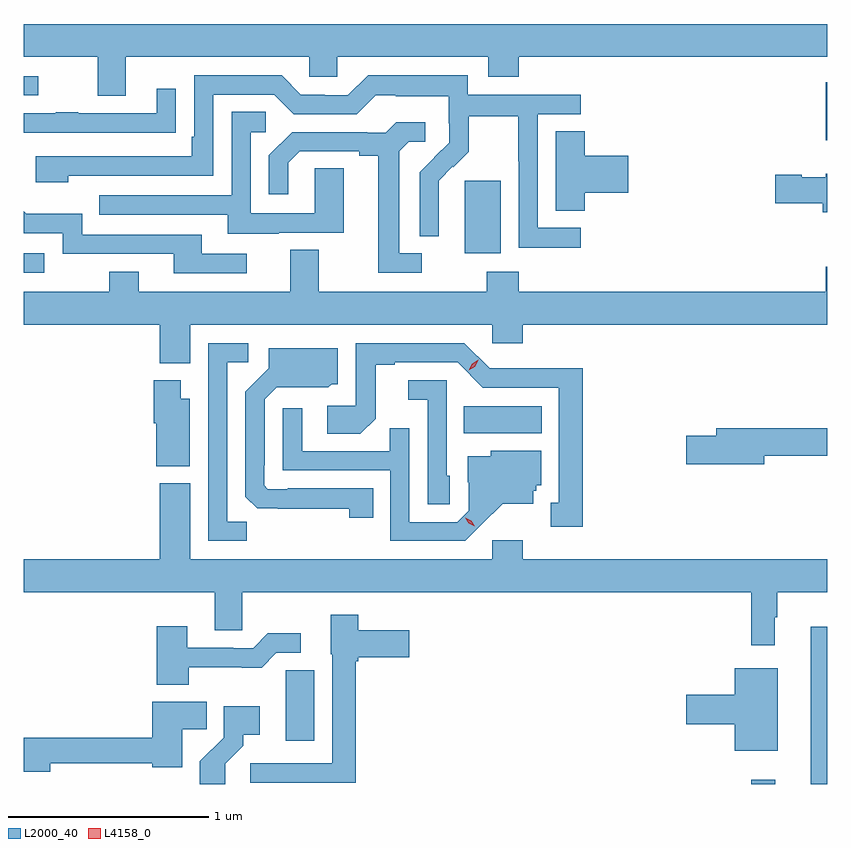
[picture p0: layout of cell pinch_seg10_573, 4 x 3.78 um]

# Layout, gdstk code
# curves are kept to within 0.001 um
import gdstk
lib = gdstk.Library(unit=1e-6, precision=1e-09)
def R(c, l, rs):  # rectangles x0, y0, x1, y1
    for r in rs: c.add(gdstk.rectangle(r[:2], r[2:], *l))
def P(c, l, *ps):  # polygons
    for p in ps: c.add(gdstk.Polygon(p, *l))
L2000_40 = (2000, 40)
L4158_0 = (4158, 0)

pinch_seg10_573 = lib.new_cell('pinch_seg10_573')
R(pinch_seg10_573, L2000_40, [(291.979,1283.378,292.097,1283.398), (292.274,1283.378,292.357,1284.16), (290.548,1285.124,290.935,1285.258), (288.357,1285.923,288.46,1286.019), (290.552,1286.018,290.731,1286.379), (292.349,1286.582,292.357,1286.869), (288.357,1286.805,288.43,1286.901)])
P(pinch_seg10_573, L2000_40, [(288.865,1286.996),(289.779,1286.996),(289.779,1286.898),(289.917,1286.898),(289.917,1286.996),(290.669,1286.996),(290.669,1286.897),(290.822,1286.897),(290.822,1286.996),(292.357,1286.996),(292.357,1287.16),(288.357,1287.16),(288.357,1286.996),(288.725,1286.996),(288.725,1286.802),(288.865,1286.802)],
  [(291.13,1286.145),(290.916,1286.145),(290.916,1286.712),(291.13,1286.712),(291.13,1286.808),(290.568,1286.808),(290.568,1286.905),(290.071,1286.905),(289.971,1286.805),(289.856,1286.805),(289.856,1286.808),(289.737,1286.808),(289.641,1286.904),(289.206,1286.904),(289.206,1286.599),(289.193,1286.599),(289.193,1286.502),(288.417,1286.502),(288.417,1286.372),(288.578,1286.372),(288.578,1286.406),(289.302,1286.406),(289.302,1286.808),(289.605,1286.808),(289.701,1286.712),(290.016,1286.712),(290.109,1286.805),(290.209,1286.805),(290.209,1286.801),(290.472,1286.801),(290.472,1286.667),(290.474,1286.667),(290.474,1286.57),(290.328,1286.422),(290.328,1286.104),(290.424,1286.104),(290.423,1286.381),(290.493,1286.451),(290.496,1286.448),(290.573,1286.525),(290.573,1286.7),(290.818,1286.7),(290.818,1286.476),(290.82,1286.476),(290.82,1286.047),(291.13,1286.047)],
  [(289.013,1286.62),(289.115,1286.62),(289.115,1286.839),(289.019,1286.839),(289.019,1286.715),(288.629,1286.715),(288.629,1286.72),(288.517,1286.72),(288.517,1286.715),(288.357,1286.715),(288.357,1286.619),(289.013,1286.619)],
  [(289.627,1286.121),(289.951,1286.121),(289.951,1286.441),(289.806,1286.441),(289.806,1286.217),(289.488,1286.217),(289.488,1286.622),(289.561,1286.622),(289.561,1286.723),(289.392,1286.723),(289.392,1286.307),(288.733,1286.307),(288.733,1286.211),(289.373,1286.211),(289.373,1286.117),(289.627,1286.117)],
  [(290.338,1286.019),(290.227,1286.019),(290.227,1286.527),(290.274,1286.574),(290.356,1286.574),(290.356,1286.671),(290.212,1286.671),(290.16,1286.619),(290.066,1286.619),(290.066,1286.622),(289.694,1286.622),(289.578,1286.506),(289.578,1286.313),(289.675,1286.313),(289.675,1286.469),(289.732,1286.526),(290.027,1286.526),(290.027,1286.504),(290.123,1286.504),(290.123,1285.923),(290.338,1285.923)],
  [(291.149,1286.321),(291.367,1286.321),(291.367,1286.504),(291.149,1286.504),(291.149,1286.627),(291.005,1286.627),(291.005,1286.23),(291.149,1286.23)],
  [(292.357,1286.416),(292.35,1286.416),(292.35,1286.398),(292.23,1286.398),(292.23,1286.411),(292.098,1286.411),(292.098,1286.269),(292.334,1286.269),(292.334,1286.222),(292.357,1286.222)],
  [(289.468,1286.016),(289.243,1286.016),(289.243,1286.112),(288.648,1286.112),(288.648,1286.215),(288.371,1286.215),(288.357,1286.229),(288.357,1286.118),(288.552,1286.118),(288.552,1286.016),(289.103,1286.016),(289.103,1285.92),(289.468,1285.92)],
  [(289.186,1285.664),(290.688,1285.664),(290.688,1285.571),(290.84,1285.571),(290.84,1285.664),(292.357,1285.664),(292.357,1285.952),(292.349,1285.952),(292.349,1285.828),(290.822,1285.828),(290.822,1285.927),(290.662,1285.927),(290.662,1285.828),(289.825,1285.828),(289.825,1286.036),(289.685,1286.036),(289.685,1285.828),(288.931,1285.828),(288.931,1285.927),(288.784,1285.927),(288.784,1285.828),(288.357,1285.828),(288.357,1285.664),(289.034,1285.664),(289.034,1285.472),(289.186,1285.472)],
  [(289.467,1284.683),(289.371,1284.683),(289.371,1285.476),(289.474,1285.476),(289.474,1285.572),(289.275,1285.572),(289.275,1284.588),(289.467,1284.588)],
  [(291.139,1285.448),(290.898,1285.448),(290.898,1285.446),(290.676,1285.446),(290.55,1285.572),(290.01,1285.572),(290.01,1285.26),(289.869,1285.26),(289.869,1285.12),(290.033,1285.12),(290.109,1285.196),(290.109,1285.464),(290.203,1285.464),(290.203,1285.476),(290.517,1285.476),(290.643,1285.35),(291.02,1285.35),(291.02,1284.777),(290.981,1284.777),(290.981,1284.657),(291.139,1284.657)],
  [(290.096,1284.849),(289.672,1284.849),(289.672,1284.846),(289.572,1284.846),(289.554,1284.864),(289.554,1284.964),(289.557,1284.964),(289.557,1285.293),(289.617,1285.353),(289.874,1285.352),(289.89,1285.368),(289.921,1285.368),(289.921,1285.546),(289.577,1285.546),(289.577,1285.446),(289.461,1285.33),(289.461,1284.808),(289.52,1284.749),(289.978,1284.748),(289.978,1284.702),(290.096,1284.702)],
  [(289.183,1285.294),(289.138,1285.294),(289.138,1285.387),(289.004,1285.387),(289.004,1285.173),(289.016,1285.173),(289.016,1284.959),(289.183,1284.959)],
  [(290.478,1284.912),(290.463,1284.912),(290.463,1285.386),(290.271,1285.386),(290.271,1285.289),(290.367,1285.289),(290.367,1284.769),(290.478,1284.769)],
  [(290.638,1284.671),(290.741,1284.773),(290.893,1284.773),(290.893,1284.837),(290.907,1284.837),(290.907,1284.864),(290.932,1284.864),(290.932,1285.036),(290.682,1285.036),(290.682,1285.009),(290.567,1285.009),(290.567,1284.88),(290.571,1284.88),(290.571,1284.738),(290.514,1284.681),(290.277,1284.681),(290.277,1285.148),(290.179,1285.148),(290.179,1285.035),(289.743,1285.035),(289.743,1285.249),(289.647,1285.249),(289.647,1284.939),(290.181,1284.939),(290.181,1284.588),(290.554,1284.588)],
  [(292.042,1285.012),(292.357,1285.012),(292.357,1285.148),(291.803,1285.148),(291.803,1285.112),(291.654,1285.112),(291.654,1284.97),(292.042,1284.97)],
  [(292.096,1284.209),(292.108,1284.209),(292.108,1284.332),(292.357,1284.332),(292.357,1284.496),(290.84,1284.496),(290.84,1284.592),(290.688,1284.592),(290.688,1284.496),(289.186,1284.496),(289.186,1284.874),(289.034,1284.874),(289.034,1284.496),(288.357,1284.496),(288.357,1284.332),(289.307,1284.332),(289.307,1284.142),(289.446,1284.142),(289.446,1284.332),(291.979,1284.332),(291.979,1284.069),(292.096,1284.069)],
  [(289.709,1283.385),(290.009,1283.385),(290.009,1283.99),(290.022,1283.99),(290.022,1284.008),(290.275,1284.008),(290.275,1284.142),(290.022,1284.142),(290.022,1284.22),(289.886,1284.22),(289.886,1284.024),(289.893,1284.024),(289.893,1283.481),(289.485,1283.481),(289.485,1283.383),(289.709,1283.383)],
  [(289.179,1283.958),(289.541,1283.957),(289.614,1284.03),(289.735,1284.03),(289.735,1284.127),(289.573,1284.127),(289.5,1284.054),(289.4,1284.054),(289.4,1284.057),(289.171,1284.057),(289.171,1284.163),(289.019,1284.163),(289.019,1283.873),(289.179,1283.873)],
  [(292.111,1283.953),(291.896,1283.953),(291.896,1283.822),(291.654,1283.822),(291.654,1283.675),(291.896,1283.675),(291.896,1283.543),(292.111,1283.543)],
  [(289.804,1283.945),(289.662,1283.945),(289.662,1283.834),(289.661,1283.834),(289.661,1283.592),(289.804,1283.592)],
  [(288.49,1283.481),(288.998,1283.481),(288.998,1283.462),(289.147,1283.462),(289.147,1283.65),(289.268,1283.65),(289.268,1283.788),(288.998,1283.788),(288.998,1283.609),(288.357,1283.609),(288.357,1283.438),(288.49,1283.438)],
  [(289.36,1283.479),(289.45,1283.569),(289.45,1283.624),(289.531,1283.624),(289.531,1283.764),(289.353,1283.764),(289.353,1283.609),(289.234,1283.49),(289.234,1283.378),(289.36,1283.378)])
P(pinch_seg10_573, L4158_0, [(290.571,1285.436),(290.571,1285.436),(290.588,1285.468),(290.62,1285.488),(290.62,1285.488),(290.62,1285.487),(290.603,1285.455),(290.571,1285.436)],
  [(290.602,1284.66),(290.571,1284.675),(290.554,1284.704),(290.554,1284.704),(290.554,1284.704),(290.585,1284.689),(290.602,1284.66),(290.602,1284.66)])

lib.write_gds('pinch_seg10_573.gds')
